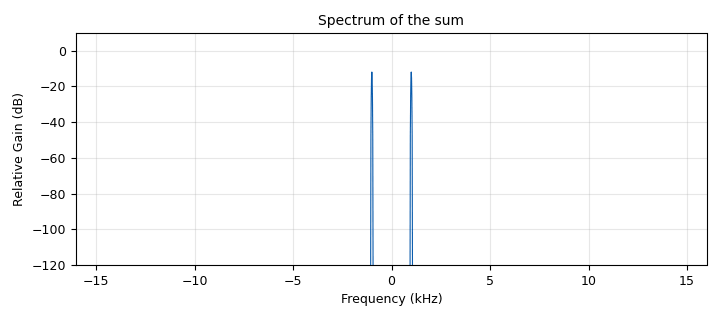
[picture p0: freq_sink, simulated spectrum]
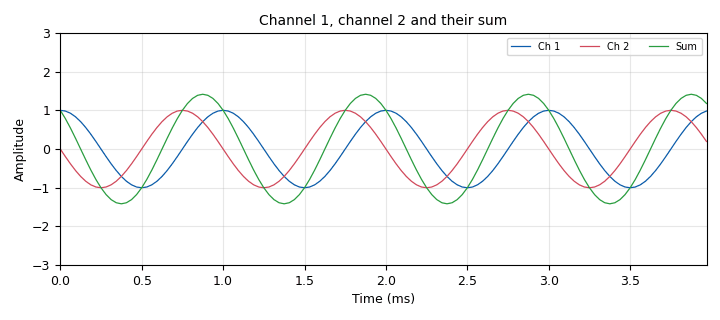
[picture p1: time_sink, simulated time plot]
options:
  parameters:
    author: GNU Radio Intro Workshop
    description: Two cosines with adjustable amplitude, frequency and phase
    generate_options: qt_gui
    generator_class_name: PythonQtGuiGenerator
    generator_module: gnuradio.grc.workflows.python_qt_gui
    id: exploring_waves
    output_language: python
    title: Exploring Waves
  states: {}

blocks:
- name: ch2_amp
  id: variable_qtgui_range
  parameters:
    gui_hint: 0,0,1,1
    label: Ch 2 amplitude
    start: '0'
    step: '0.05'
    stop: '2'
    value: '1'
  states: {}
- name: ch2_freq
  id: variable_qtgui_range
  parameters:
    gui_hint: 1,0,1,1
    label: Ch 2 frequency (Hz)
    start: '0'
    step: '50'
    stop: '4000'
    value: '1000'
  states: {}
- name: ch2_phase
  id: variable_qtgui_range
  parameters:
    gui_hint: 2,0,1,1
    label: Ch 2 phase (degrees)
    start: '-180'
    step: '5'
    stop: '180'
    value: '90'
  states: {}
- name: samp_rate
  id: variable
  parameters:
    value: '32000'
  states: {}
- name: blocks_add_xx_0
  id: blocks_add_xx
  parameters:
    type: float
  states: {}
- name: blocks_throttle2_0
  id: blocks_throttle2
  parameters:
    samples_per_second: samp_rate
    type: float
  states: {}
- name: freq_sink
  id: qtgui_freq_sink_x
  parameters:
    bw: samp_rate
    fc: '0'
    fftsize: '2048'
    gui_hint: 4,0,1,1
    name: '"Spectrum of the sum"'
    type: float
    ymin: '-120'
  states: {}
- name: import_0
  id: import
  parameters:
    imports: import numpy as np
  states: {}
- name: sig_ch1
  id: analog_sig_source_x
  parameters:
    amp: '1'
    freq: '1000'
    offset: '0'
    phase: '0'
    samp_rate: samp_rate
    type: float
    waveform: analog.GR_COS_WAVE
  states: {}
- name: sig_ch2
  id: analog_sig_source_x
  parameters:
    amp: ch2_amp
    freq: ch2_freq
    offset: '0'
    phase: ch2_phase * np.pi / 180
    samp_rate: samp_rate
    type: float
    waveform: analog.GR_COS_WAVE
  states: {}
- name: time_sink
  id: qtgui_time_sink_x
  parameters:
    gui_hint: 3,0,1,1
    label1: '"Ch 1"'
    label2: '"Ch 2"'
    label3: '"Sum"'
    name: '"Channel 1, channel 2 and their sum"'
    nconnections: '3'
    size: '128'
    srate: samp_rate
    type: float
    ymax: '3'
    ymin: '-3'
  states: {}

connections:
- [blocks_add_xx_0, '0', freq_sink, '0']
- [blocks_add_xx_0, '0', time_sink, '2']
- [blocks_throttle2_0, '0', blocks_add_xx_0, '0']
- [blocks_throttle2_0, '0', time_sink, '0']
- [sig_ch1, '0', blocks_throttle2_0, '0']
- [sig_ch2, '0', blocks_add_xx_0, '1']
- [sig_ch2, '0', time_sink, '1']

metadata:
  file_format: 1
  grc_version: 3.10.12.0
